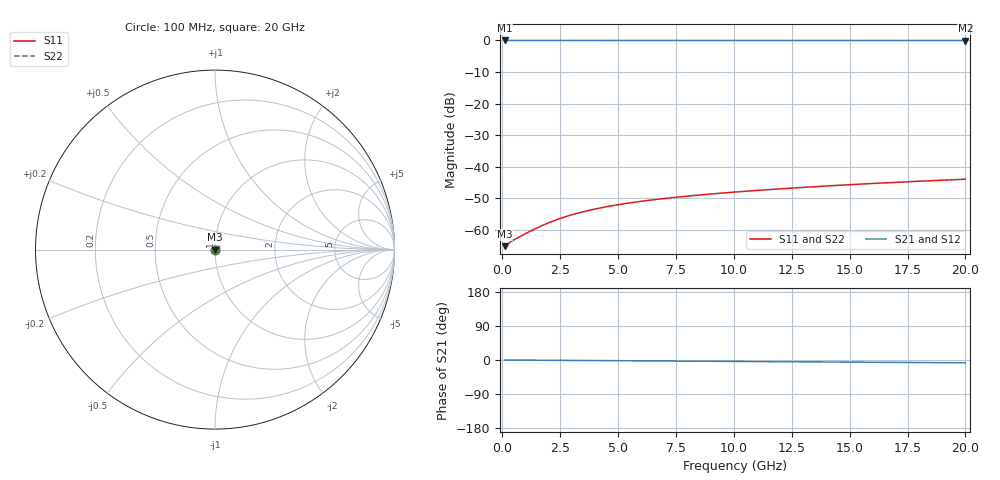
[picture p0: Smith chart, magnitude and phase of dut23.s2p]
! Touchstone file exported from HFSS 2026.1.0
!  File:  C:/ffzhzh/LocalFiles/Ansys_Project_Files/temp_train_TSV_23_1782958199_6388.aedt
!  Generated:  10:11:35 AM Jul  2, 2026
!  Design:  TSV
!  Project:  temp_train_TSV_23_1782958199_6388
! Variables:
!  h_bsmrdl = 2um
!  h_ox = 20um
!  h_rdl = 5um
!  h_sub = 79.97um
!  h_tmrdl = 5um
!  h_tsv = 79.97um
!  h_via = 3um
!  l_bsmrdl = 300um
!  l_sub = 408.46um
!  l_tmrdl = 200um
!  m_sub = 200um
!  pitch = 18.43um
!  r_tsv = 4.23um
!  s_tmrdl = 10um
!  w_bsmrdl = 18um
!  w_sub = 500um
!  w_tmrdl = 12um
!  x_tsv_center1 = 206um
!  x_tsv_center2 = 524um
!  x_tsv_center3 = 736um
!  x_tsv_center4 = 1054um
!  x_tsv_center5 = 1266um
!  x_tsv_center6 = 1584um
# GHz S MA R 50.000000
! Terminal data exported
! Port[1] = TSV1_1_T1
! Port[2] = TSV1_1_T2
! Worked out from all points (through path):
!   200 points, 100 MHz to 20 GHz, reference 50 ohm
!   highest |S21| = 0.00 dB at 100 MHz (marker M1); lowest = 0.0 dB at 20 GHz (marker M2)
!   group delay of S21, straight-line fit = 1.03 ps
!   lowest |S11| = -65.2 dB at 100 MHz (marker M3), VSWR 1.00, Z = 50.1 + j0.00819 ohm
!   |S11| at or under -10 dB: start of sweep to end of sweep
!   |S22| runs from -65.2 to -43.9 dB; largest |S21 - S12| = 2.2e-15
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0.1  0.000552 8.5  0.9995 -0.0  0.9995 -0.0  0.000552 8.5
! Gamma 0 0 0 0
! Port Impedance 50 0 50 0
0.3  0.0006249 19.6  0.9994 -0.1  0.9994 -0.1  0.0006249 19.6
0.4  0.000661 23.3  0.9994 -0.2  0.9994 -0.2  0.000661 23.3
0.6  0.0007287 29.4  0.9994 -0.2  0.9994 -0.2  0.0007287 29.4
1.3  0.0009916 44.2  0.9993 -0.5  0.9993 -0.5  0.0009916 44.2
1.8  0.001207 50.0  0.9992 -0.7  0.9992 -0.7  0.001207 50.0
2.2  0.001384 52.8  0.9992 -0.8  0.9992 -0.8  0.001384 52.8
2.6  0.00156 54.6  0.9991 -1.0  0.9991 -1.0  0.00156 54.6
3  0.001732 55.7  0.999 -1.1  0.999 -1.1  0.001732 55.7
3.5  0.00194 56.6  0.999 -1.3  0.999 -1.3  0.00194 56.6
4.2  0.002214 57.1  0.9988 -1.6  0.9988 -1.6  0.002214 57.1
5  0.002504 57.3  0.9987 -1.9  0.9987 -1.9  0.002504 57.3
5.8  0.002771 57.3  0.9986 -2.2  0.9986 -2.2  0.002771 57.3
6.8  0.003081 57.3  0.9984 -2.6  0.9984 -2.6  0.003081 57.3
7.5  0.003285 57.3  0.9984 -2.8  0.9984 -2.8  0.003285 57.3
8.3  0.003508 57.4  0.9983 -3.1  0.9983 -3.1  0.003508 57.4
10.1  0.003985 57.5  0.9981 -3.8  0.9981 -3.8  0.003985 57.5
11.7  0.004391 57.6  0.9979 -4.4  0.9979 -4.4  0.004391 57.6
13.4  0.004809 57.7  0.9978 -5.0  0.9978 -5.0  0.004809 57.7
15  0.005194 57.8  0.9977 -5.6  0.9977 -5.6  0.005194 57.8
16.7  0.005595 57.7  0.9975 -6.2  0.9975 -6.2  0.005595 57.7
20  0.006347 57.4  0.9973 -7.4  0.9973 -7.4  0.006347 57.4
